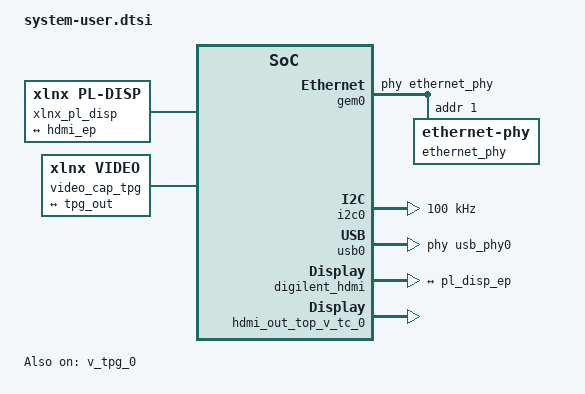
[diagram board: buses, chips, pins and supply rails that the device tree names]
/ {			
	chosen {
		bootargs = "earlycon console=ttyPS0,115200 clk_ignore_unused root=/dev/mmcblk0p2 rw rootwait cma=128M uio_pdrv_genirq.of_id=generic-uio cpuidle.off=1";	

	};
	
	reserved-memory {
		#address-cells = <1>;
		#size-cells = <1>;
		ranges;

		vdma0_buffer: vdma0_buffer@01000000 {
			compatible = "shared-dma-pool";
			reg = <0x01000000 0x02000000>; // 32 MB for framebuffer
			no-map;
		};	
	};
		
        usb_phy0: phy0 {
                compatible = "ulpi-phy";
                #phy-cells = <0>;
                reg = <0xe0002000 0x1000>;
                view-port = <0x170>;
                drv-vbus;
        };
};


&gem0 {
	local-mac-address = [00 0a 35 01 02 03];
	phy-handle = <&ethernet_phy>;
	ethernet_phy: ethernet-phy@1{
		reg = <1>;
	};
};

&i2c0 {
    	clock-frequency = <100000>;
    	status = "okay";
};

&usb0 {
	status = "okay";
        usb-phy = <&usb_phy0>;
};

&qspi {
        compatible = "jedec,spi-nor";
        reg = <0x0>;
        spi-tx-bus-width = <1>;
        spi-rx-bus-width = <4>;
        spi-max-frequency = <100000000>;
};

&v_tpg_0 {
	status = "okay";
	reset-gpios = <&gpio0 54 1>;
	ports {
		#address-cells = <1>;
		#size-cells = <0>;
		port@0 {
			reg = <0>;
			xlnx,video-format = <0x0>;
			xlnx,video-width = <16>;
			tpg_out: endpoint {
				remote-endpoint = <&vcap_in>;
			};
		};
	};
};

&axi_vdma_0 {
	memory-region = <&vdma0_buffer>; 
	status = "okay";
};

&amba_pl {
	digilent_hdmi {
		compatible = "digilent,hdmi";
		status = "okay";
		digilent,edid-i2c = <&i2c0>;	
		port@0 { 
			hdmi_ep: endpoint { 
				remote-endpoint = <&pl_disp_ep>; 
			}; 
		}; 
	};
	
	xlnx_pl_disp {
		compatible = "xlnx,pl-disp";
		dmas = <&axi_vdma_0 0>; 	
		dma-names = "dma0"; 
		xlnx,vformat = "RG24";
		xlnx,bridge = <&hdmi_out_top_v_tc_0>; 
		status = "okay";
		port@0 { 
			pl_disp_ep: endpoint { 
				remote-endpoint = <&hdmi_ep>; 
			}; 
		};
	};
	
	video_cap_tpg {
		status = "okay";
		compatible = "xlnx,video";
		dma-names = "port0";
		dmas = <&axi_vdma_0 1>;
   
		   ports {
			#address-cells = <1>;
			#size-cells = <0>;
		 
			port@0 {
				reg = <0>;
				direction = "input";
				vcap_in: endpoint {
					remote-endpoint = <&tpg_out>;
				};
			};
		};
  	};		
};



&hdmi_out_top_v_tc_0 {
	compatible = "xlnx,bridge-v-tc-6.1";	// 6.2 is the from the block design, but doesn't work here
	xlnx,pixels-per-clock = <1>; 
	status = "okay";
};

&hdmi_out_top_axi_gpio_0 {
	compatible = "generic-uio";	
};
